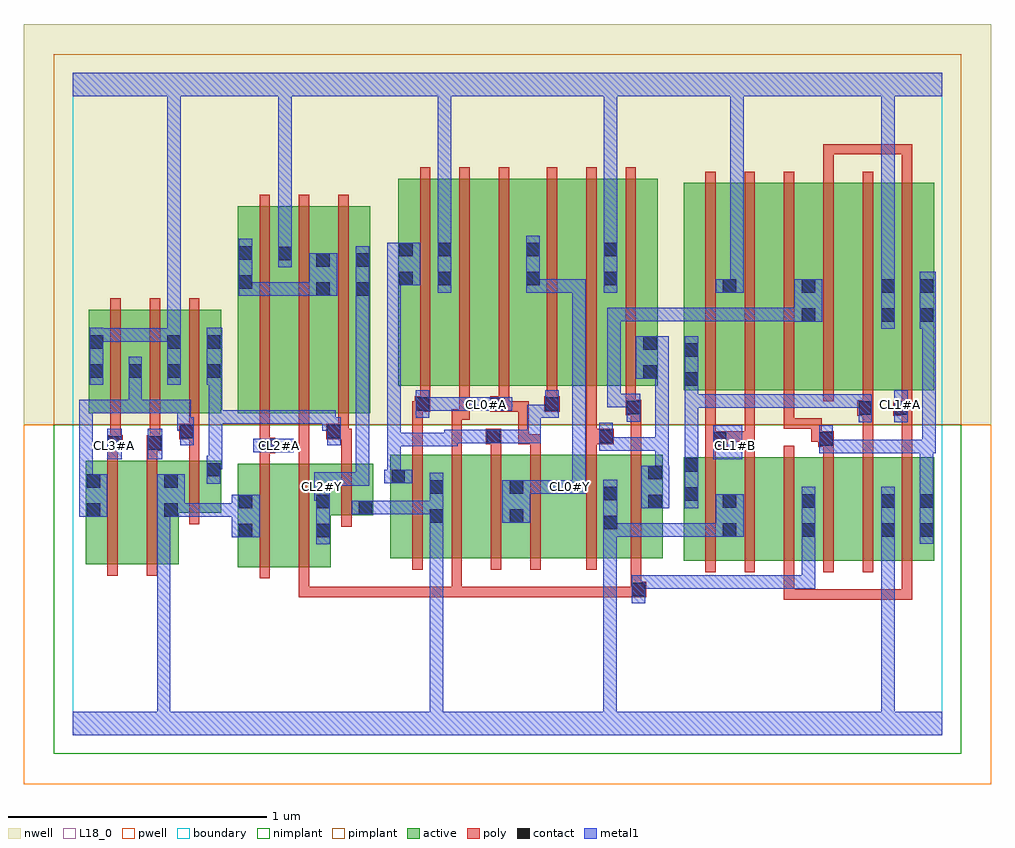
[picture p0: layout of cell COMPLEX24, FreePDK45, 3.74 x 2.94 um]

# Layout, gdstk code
import gdstk
lib = gdstk.Library(unit=1e-6, precision=1e-09)
def R(c, l, rs):  # rectangles x0, y0, x1, y1
    for r in rs: c.add(gdstk.rectangle(r[:2], r[2:], *l))
def A(c, l, x, y, w, h, nx, ny, dx, dy):  # array of equal rectangles
    R(c, l, [(x+i*dx, y+j*dy, x+i*dx+w, y+j*dy+h) for i in range(nx) for j in range(ny)])
active = (1, 0)
pwell = (2, 0)
nwell = (3, 0)
nimplant = (4, 0)
pimplant = (5, 0)
poly = (9, 0)
contact = (10, 0)
metal1 = (11, 0)
L18_0 = (18, 0)
boundary = (235, 0)

complex24 = lib.new_cell('COMPLEX24')
A(complex24, active, 0.062, 1.244, 0.06, 0.4, 3, 1, 0.15, 0)
R(complex24, active, [(0.638,0.65,0.818,1.05), (0.818,0.65,0.998,1.05), (0.938,0.65,0.998,1.05), (0.05,0.66,0.11,1.06), (0.05,0.66,0.23,1.06), (0.23,0.66,0.41,1.06), (2.36,0.674,2.42,1.074), (2.36,0.674,2.568,1.074), (2.508,0.674,2.692,1.074), (2.692,0.674,2.872,1.074), (2.812,0.674,2.996,1.074), (2.996,0.674,3.18,1.074), (3.12,0.674,3.18,1.074), (3.12,0.674,3.328,1.074), (3.268,0.674,3.328,1.074), (1.228,0.684,1.288,1.084), (1.228,0.684,1.436,1.084), (1.376,0.684,1.56,1.084), (1.56,0.684,1.744,1.084), (1.684,0.684,1.864,1.084), (1.684,0.684,1.744,0.99), (1.864,0.684,2.108,1.084), (2.048,0.684,2.28,1.084), (2.048,0.684,2.108,0.964), (2.22,0.684,2.28,1.084), (0.638,0.756,0.698,1.05), (1.376,0.756,1.436,0.99), (2.508,0.756,2.568,0.936), (2.812,0.756,2.872,0.936), (0.35,0.84,0.41,1.018), (0.938,0.85,1.162,1.05), (1.102,0.85,1.162,1.05), (0.35,0.86,0.574,1.06), (0.514,0.86,0.574,1.06), (0.062,1.244,0.272,1.644), (0.212,1.244,0.422,1.644), (0.362,1.244,0.574,1.644), (0.514,1.244,0.574,1.644), (0.638,1.244,0.698,2.044), (0.638,1.244,0.85,2.044), (0.79,1.244,0.998,2.044), (0.938,1.244,1.15,2.044), (1.09,1.244,1.15,2.044), (2.36,1.334,2.42,2.044), (2.36,1.334,2.568,2.134), (2.508,1.334,2.692,2.134), (2.692,1.334,2.872,2.134), (2.812,1.334,2.872,2.134), (2.812,1.334,2.996,2.134), (2.996,1.334,3.18,2.134), (3.12,1.334,3.328,2.134), (3.12,1.334,3.18,2.134), (3.268,1.334,3.328,2.044), (1.258,1.35,1.466,2.15), (1.258,1.35,1.318,2.15), (1.406,1.35,1.59,2.15), (1.59,1.35,1.808,2.15), (1.748,1.35,1.928,2.15), (1.928,1.35,2.108,2.15), (2.048,1.35,2.26,2.15), (2.2,1.35,2.26,2.044), (1.748,1.388,1.808,2.15), (0.938,1.458,0.998,2.044), (0.79,1.686,0.85,2.044), (1.406,1.686,1.466,2.15), (2.048,1.686,2.108,2.044), (2.508,1.686,2.568,2.044)])
R(complex24, pwell, [(-0.188,-0.188,3.548,1.2)])
R(complex24, nwell, [(-0.188,1.2,3.548,2.748)])
R(complex24, nimplant, [(-0.072,-0.072,3.432,1.2)])
R(complex24, pimplant, [(-0.072,1.2,3.432,2.632)])
A(complex24, poly, 0.874, 0.534, 0.146, 0.04, 3, 1, 0.106, 0)
A(complex24, poly, 2.444, 0.63, 0.04, 0.488, 6, 1, 0.152, 0)
A(complex24, poly, 1.312, 0.64, 0.04, 0.488, 4, 1, 0.152, 0)
A(complex24, poly, 0.146, 1.2, 0.04, 0.488, 3, 1, 0.152, 0)
A(complex24, poly, 0.722, 1.2, 0.04, 0.888, 3, 1, 0.152, 0)
A(complex24, poly, 2.444, 1.29, 0.04, 0.888, 6, 1, 0.152, 0)
A(complex24, poly, 1.342, 1.306, 0.04, 0.888, 3, 1, 0.152, 0)
A(complex24, poly, 1.832, 1.306, 0.04, 0.888, 3, 1, 0.152, 0)
R(complex24, poly, [(2.748,0.524,2.788,0.67), (2.748,0.524,2.788,0.564), (2.748,0.524,2.788,0.564), (2.748,0.524,2.788,0.564), (2.748,0.524,2.94,0.564), (2.9,0.524,2.94,0.564), (2.9,0.524,3.104,0.564), (3.064,0.524,3.104,0.564), (3.064,0.524,3.104,0.564), (3.064,0.524,3.104,0.564), (3.064,0.524,3.244,0.564), (3.204,0.524,3.244,0.67), (3.204,0.524,3.244,0.564), (3.204,0.524,3.244,0.564), (3.204,0.524,3.244,0.564), (0.874,0.534,0.914,0.574), (0.874,0.534,0.914,0.646), (0.98,0.534,1.02,0.574), (0.98,0.534,1.02,0.574), (0.98,0.534,1.02,0.574), (1.086,0.534,1.126,0.574), (1.086,0.534,1.126,0.574), (1.086,0.534,1.126,0.574), (1.192,0.534,1.232,0.574), (1.192,0.534,1.232,0.574), (1.192,0.534,1.232,0.574), (1.192,0.534,1.504,0.574), (1.464,0.534,1.504,0.68), (1.464,0.534,1.504,0.574), (1.464,0.534,1.61,0.574), (1.57,0.534,1.61,0.574), (1.57,0.534,1.61,0.574), (1.57,0.534,1.61,0.574), (1.57,0.534,1.812,0.574), (1.772,0.534,1.812,0.574), (1.772,0.534,1.812,0.574), (1.772,0.534,1.812,0.574), (1.772,0.534,1.918,0.574), (1.878,0.534,1.918,0.574), (1.878,0.534,1.918,0.574), (1.878,0.534,1.918,0.574), (1.878,0.534,2.196,0.574), (2.156,0.534,2.196,0.574), (2.156,0.534,2.196,0.574), (2.156,0.534,2.216,0.594), (2.156,0.554,2.196,0.68), (0.722,0.606,0.762,1.094), (0.874,0.606,0.914,1.094), (0.134,0.616,0.174,1.104), (0.286,0.616,0.326,1.104), (1.984,0.64,2.024,1.128), (2.156,0.64,2.196,1.128), (1.038,0.806,1.078,1.094), (0.45,0.816,0.49,1.104), (0.722,1.054,0.762,1.13), (0.874,1.054,0.914,1.13), (1.038,1.054,1.078,1.184), (0.134,1.064,0.174,1.14), (0.286,1.064,0.326,1.14), (0.45,1.064,0.49,1.184), (2.444,1.078,2.484,1.154), (2.596,1.078,2.636,1.174), (2.9,1.078,2.94,1.154), (3.052,1.078,3.092,1.274), (3.204,1.078,3.244,1.274), (1.312,1.088,1.352,1.29), (1.464,1.088,1.504,1.26), (1.616,1.088,1.656,1.164), (1.768,1.088,1.808,1.164), (1.984,1.088,2.024,1.164), (2.156,1.088,2.196,1.276), (0.722,1.09,0.782,1.15), (0.874,1.09,0.914,1.13), (0.874,1.09,0.914,1.13), (0.874,1.09,0.914,1.13), (0.874,1.09,0.914,1.24), (0.134,1.1,0.194,1.16), (0.286,1.1,0.346,1.16), (0.722,1.11,0.762,1.15), (0.722,1.11,0.762,1.15), (0.722,1.11,0.762,1.24), (2.444,1.114,2.53,1.174), (2.88,1.114,2.94,1.174), (0.146,1.12,0.186,1.16), (0.146,1.12,0.186,1.16), (0.146,1.12,0.186,1.24), (0.298,1.12,0.338,1.16), (0.298,1.12,0.338,1.16), (0.298,1.12,0.338,1.24), (1.596,1.124,1.656,1.184), (1.722,1.124,1.762,1.164), (1.722,1.124,1.808,1.164), (1.722,1.124,1.762,1.29), (1.768,1.124,1.808,1.164), (1.984,1.124,2.09,1.184), (2.444,1.134,2.484,1.174), (2.444,1.134,2.484,1.174), (2.444,1.134,2.484,1.174), (2.444,1.134,2.484,1.174), (2.444,1.134,2.484,1.33), (2.444,1.134,2.636,1.174), (2.596,1.134,2.636,1.174), (2.596,1.134,2.636,1.174), (2.596,1.134,2.636,1.174), (2.596,1.134,2.636,1.33), (2.854,1.134,2.894,1.174), (2.854,1.134,2.92,1.174), (2.854,1.134,2.894,1.224), (0.412,1.144,0.49,1.204), (0.45,1.144,0.49,1.184), (0.45,1.144,0.49,1.184), (0.98,1.144,1.066,1.204), (1.026,1.144,1.066,1.184), (1.026,1.144,1.078,1.184), (1.984,1.144,2.024,1.184), (1.984,1.144,2.024,1.184), (1.984,1.144,2.024,1.346), (0.45,1.164,0.49,1.24), (1.026,1.164,1.066,1.24), (2.748,1.184,2.788,1.33), (2.748,1.184,2.788,1.224), (2.748,1.184,2.894,1.224), (2.854,1.184,2.894,1.224), (1.464,1.22,1.506,1.26), (1.466,1.22,1.506,1.26), (1.466,1.22,1.534,1.26), (1.494,1.22,1.534,1.346), (3.032,1.234,3.092,1.294), (3.052,1.234,3.092,1.274), (3.052,1.234,3.092,1.274), (3.17,1.234,3.244,1.294), (3.204,1.234,3.244,1.274), (3.204,1.234,3.244,1.274), (2.136,1.236,2.196,1.296), (2.156,1.236,2.196,1.276), (2.156,1.236,2.196,1.276), (1.312,1.25,1.362,1.29), (1.322,1.25,1.362,1.29), (1.322,1.25,1.382,1.31), (1.614,1.25,1.686,1.31), (1.646,1.25,1.762,1.29), (1.722,1.25,1.762,1.29), (1.822,1.25,1.882,1.31), (3.052,1.254,3.092,1.33), (3.204,1.254,3.244,1.33), (2.136,1.256,2.176,1.346), (1.342,1.27,1.382,1.346), (1.646,1.27,1.686,1.346), (1.832,1.27,1.872,1.346), (2.9,2.138,2.94,2.284), (3.204,2.138,3.244,2.284), (2.9,2.244,2.94,2.284), (2.9,2.244,3.046,2.284), (3.006,2.244,3.046,2.284), (3.006,2.244,3.046,2.284), (3.006,2.244,3.046,2.284), (3.006,2.244,3.244,2.284), (3.204,2.244,3.244,2.284), (3.204,2.244,3.244,2.284), (3.204,2.244,3.244,2.284)])
A(complex24, contact, 0.066, 1.382, 0.052, 0.052, 3, 1, 0.15, 0)
R(complex24, contact, [(2.16,0.538,2.212,0.59), (0.642,0.766,0.694,0.818), (0.942,0.766,0.994,0.818), (2.512,0.768,2.564,0.82), (2.816,0.768,2.868,0.82), (3.124,0.768,3.176,0.82), (3.272,0.768,3.324,0.82), (2.052,0.796,2.104,0.848), (1.38,0.822,1.432,0.874), (1.688,0.822,1.74,0.874), (0.054,0.844,0.106,0.896), (0.354,0.844,0.406,0.896), (1.106,0.854,1.158,0.906), (0.642,0.878,0.694,0.93), (0.942,0.878,0.994,0.93), (2.224,0.878,2.276,0.93), (2.512,0.88,2.564,0.932), (2.816,0.88,2.868,0.932), (3.124,0.88,3.176,0.932), (3.272,0.88,3.324,0.932), (2.364,0.906,2.416,0.958), (2.052,0.908,2.104,0.96), (1.38,0.934,1.432,0.986), (1.688,0.934,1.74,0.986), (0.054,0.956,0.106,1.008), (0.354,0.956,0.406,1.008), (1.232,0.974,1.284,1.026), (2.224,0.99,2.276,1.042), (0.518,1,0.57,1.052), (2.364,1.018,2.416,1.07), (0.726,1.094,0.778,1.146), (0.138,1.104,0.19,1.156), (0.29,1.104,0.342,1.156), (2.474,1.118,2.526,1.17), (2.884,1.118,2.936,1.17), (1.6,1.128,1.652,1.18), (2.034,1.128,2.086,1.18), (0.416,1.148,0.468,1.2), (0.984,1.148,1.036,1.2), (3.036,1.238,3.088,1.29), (3.174,1.238,3.226,1.29), (2.14,1.24,2.192,1.292), (1.326,1.254,1.378,1.306), (1.618,1.254,1.67,1.306), (1.826,1.254,1.878,1.306), (2.364,1.35,2.416,1.402), (2.204,1.378,2.256,1.43), (0.518,1.382,0.57,1.434), (2.364,1.462,2.416,1.514), (2.204,1.49,2.256,1.542), (0.066,1.494,0.118,1.546), (0.366,1.494,0.418,1.546), (0.518,1.494,0.57,1.546), (2.816,1.598,2.868,1.65), (3.124,1.598,3.176,1.65), (3.272,1.598,3.324,1.65), (0.942,1.698,0.994,1.75), (1.094,1.698,1.146,1.75), (2.512,1.71,2.564,1.762), (2.816,1.71,2.868,1.762), (3.124,1.71,3.176,1.762), (3.272,1.71,3.324,1.762), (0.642,1.726,0.694,1.778), (1.262,1.738,1.314,1.79), (1.41,1.738,1.462,1.79), (1.752,1.738,1.804,1.79), (2.052,1.738,2.104,1.79), (0.942,1.81,0.994,1.862), (1.094,1.81,1.146,1.862), (0.794,1.836,0.846,1.888), (0.642,1.838,0.694,1.89), (1.262,1.85,1.314,1.902), (1.41,1.85,1.462,1.902), (1.752,1.85,1.804,1.902), (2.052,1.85,2.104,1.902)])
A(complex24, metal1, 2.364, 0.566, 0.052, 0.052, 3, 1, 0.11, 0)
A(complex24, metal1, 2.884, 1.09, 0.052, 0.052, 3, 1, 0.11, 0)
R(complex24, metal1, [(0,0,3.36,0.092), (0.326,0.04,0.378,0.092), (0.326,0.04,0.378,0.092), (0.326,0.04,0.378,0.092), (0.326,0.04,0.378,0.092), (0.326,0.04,0.378,0.092), (0.326,0.04,0.378,0.092), (0.326,0.04,0.378,0.092), (0.326,0.04,0.378,0.092), (0.326,0.04,0.378,0.092), (0.326,0.04,0.378,0.092), (0.326,0.04,0.378,0.896), (1.38,0.04,1.432,0.092), (1.38,0.04,1.432,0.092), (1.38,0.04,1.432,0.092), (1.38,0.04,1.432,0.092), (1.38,0.04,1.432,0.092), (1.38,0.04,1.432,0.092), (1.38,0.04,1.432,0.846), (2.05,0.04,2.102,0.092), (2.05,0.04,2.102,0.092), (2.05,0.04,2.102,0.092), (2.05,0.04,2.102,0.092), (2.05,0.04,2.102,0.092), (2.05,0.04,2.102,0.092), (2.05,0.04,2.102,0.092), (2.05,0.04,2.102,0.092), (2.05,0.04,2.102,0.092), (2.05,0.04,2.102,0.092), (2.05,0.04,2.102,0.82), (3.124,0.04,3.176,0.092), (3.124,0.04,3.176,0.092), (3.124,0.04,3.176,0.092), (3.124,0.04,3.176,0.092), (3.124,0.04,3.176,0.092), (3.124,0.04,3.176,0.092), (3.124,0.04,3.176,0.092), (3.124,0.04,3.176,0.092), (3.124,0.04,3.176,0.092), (3.124,0.04,3.176,0.092), (3.124,0.04,3.176,0.092), (3.124,0.04,3.176,0.092), (3.124,0.04,3.176,0.792), (2.16,0.51,2.212,0.618), (2.16,0.566,2.304,0.618), (2.252,0.566,2.304,0.618), (2.252,0.566,2.416,0.618), (2.364,0.566,2.416,0.618), (2.364,0.566,2.416,0.618), (2.364,0.566,2.526,0.618), (2.474,0.566,2.636,0.618), (2.584,0.566,2.636,0.618), (2.584,0.566,2.636,0.618), (2.584,0.566,2.826,0.618), (2.774,0.566,2.826,0.618), (2.774,0.566,2.868,0.618), (2.816,0.566,2.868,0.618), (2.816,0.566,2.868,0.792), (0.942,0.738,0.994,0.958), (2.816,0.74,2.868,0.96), (3.124,0.74,3.176,0.96), (3.272,0.74,3.324,0.96), (0.614,0.766,0.722,0.93), (2.05,0.768,2.102,0.82), (2.05,0.768,2.102,0.82), (2.05,0.768,2.104,0.988), (2.052,0.768,2.302,0.82), (2.25,0.768,2.302,0.82), (2.25,0.768,2.302,0.82), (2.25,0.768,2.302,0.82), (2.25,0.768,2.414,0.82), (2.362,0.768,2.414,0.82), (2.362,0.768,2.414,0.82), (2.362,0.768,2.414,0.82), (2.362,0.768,2.536,0.82), (2.484,0.768,2.592,0.932), (1.38,0.794,1.432,0.846), (1.38,0.794,1.432,0.846), (1.38,0.794,1.432,0.846), (1.38,0.794,1.432,0.846), (1.38,0.794,1.432,0.846), (1.38,0.794,1.432,0.846), (1.38,0.794,1.432,1.014), (1.66,0.822,1.768,0.986), (0.026,0.844,0.134,1.008), (0.326,0.844,0.378,0.896), (0.326,0.844,0.378,0.896), (0.326,0.844,0.434,1.008), (0.382,0.844,0.434,0.896), (0.382,0.844,0.434,0.896), (0.382,0.844,0.584,0.896), (0.532,0.844,0.584,0.896), (0.532,0.844,0.666,0.896), (1.078,0.854,1.186,0.906), (1.134,0.854,1.186,0.906), (1.134,0.854,1.186,0.906), (1.134,0.854,1.186,0.906), (1.134,0.854,1.186,0.906), (1.134,0.854,1.296,0.906), (1.244,0.854,1.296,0.906), (1.244,0.854,1.296,0.906), (1.244,0.854,1.296,0.906), (1.244,0.854,1.432,0.906), (2.196,0.878,2.304,1.042), (2.364,0.878,2.416,1.098), (0.934,0.906,0.994,1.016), (0.942,0.906,0.994,0.958), (3.272,0.908,3.324,1.142), (1.716,0.934,1.918,0.986), (1.866,0.934,1.918,0.986), (1.866,0.934,1.918,0.986), (1.866,0.934,1.918,0.986), (1.866,0.934,1.918,0.986), (1.866,0.934,1.982,0.986), (1.93,0.934,1.982,1.762), (0.026,0.956,0.078,1.296), (0.942,0.964,0.994,1.016), (0.942,0.964,0.994,1.016), (0.942,0.964,1.146,1.016), (1.094,0.964,1.146,1.016), (1.094,0.964,1.146,1.722), (0.518,0.972,0.57,1.08), (1.204,0.974,1.312,1.026), (1.216,0.974,1.268,1.168), (2.25,0.99,2.302,1.152), (0.518,1.028,0.57,1.08), (0.518,1.028,0.578,1.08), (0.526,1.028,0.578,1.256), (2.364,1.046,2.416,1.098), (2.364,1.046,2.416,1.098), (2.364,1.046,2.416,1.318), (0.134,1.066,0.19,1.184), (0.29,1.066,0.346,1.184), (2.474,1.066,2.586,1.198), (2.884,1.09,2.936,1.142), (2.884,1.09,3.046,1.142), (2.884,1.09,2.936,1.198), (2.994,1.09,3.156,1.142), (3.104,1.09,3.156,1.142), (3.104,1.09,3.156,1.142), (3.104,1.09,3.324,1.142), (3.272,1.09,3.334,1.142), (3.282,1.09,3.334,1.622), (0.698,1.094,0.854,1.146), (2.034,1.1,2.086,1.208), (2.034,1.1,2.092,1.152), (2.04,1.1,2.092,1.152), (2.04,1.1,2.302,1.152), (2.25,1.1,2.302,1.152), (2.25,1.1,2.302,1.152), (2.25,1.1,2.302,1.152), (2.25,1.1,2.302,1.152), (2.25,1.1,2.302,1.152), (2.25,1.1,2.302,1.43), (1.216,1.116,1.268,1.168), (1.216,1.116,1.268,1.168), (1.216,1.116,1.268,1.168), (1.216,1.116,1.354,1.168), (1.216,1.116,1.268,1.79), (1.302,1.116,1.354,1.168), (1.302,1.116,1.488,1.168), (1.436,1.116,1.488,1.168), (1.436,1.116,1.488,1.168), (1.436,1.116,1.488,1.18), (0.416,1.12,0.468,1.228), (0.984,1.12,1.036,1.228), (1.436,1.128,1.602,1.18), (1.55,1.128,1.602,1.18), (1.55,1.128,1.624,1.18), (1.572,1.128,1.68,1.18), (1.628,1.128,1.808,1.18), (1.756,1.128,1.808,1.18), (1.756,1.128,1.808,1.278), (0.404,1.176,0.468,1.228), (0.404,1.176,0.456,1.296), (0.964,1.176,1.036,1.228), (0.964,1.176,1.016,1.256), (0.526,1.204,0.578,1.256), (0.526,1.204,0.578,1.256), (0.526,1.204,0.578,1.256), (0.526,1.204,0.746,1.256), (0.526,1.204,0.578,1.406), (0.694,1.204,0.746,1.256), (0.694,1.204,0.856,1.256), (0.804,1.204,0.856,1.256), (0.804,1.204,0.856,1.256), (0.804,1.204,0.856,1.256), (0.804,1.204,1.016,1.256), (3.036,1.21,3.088,1.318), (3.174,1.21,3.226,1.334), (2.14,1.212,2.192,1.32), (1.326,1.226,1.378,1.334), (1.756,1.226,1.808,1.278), (1.756,1.226,1.878,1.278), (1.826,1.226,1.878,1.334), (0.026,1.244,0.078,1.296), (0.026,1.244,0.078,1.296), (0.026,1.244,0.078,1.296), (0.026,1.244,0.078,1.296), (0.026,1.244,0.078,1.296), (0.026,1.244,0.268,1.296), (0.216,1.244,0.268,1.296), (0.216,1.244,0.268,1.296), (0.216,1.244,0.268,1.296), (0.216,1.244,0.268,1.406), (0.216,1.244,0.456,1.296), (1.326,1.254,1.406,1.306), (1.354,1.254,1.406,1.306), (1.354,1.254,1.488,1.306), (1.436,1.254,1.488,1.306), (1.436,1.254,1.598,1.306), (1.546,1.254,1.598,1.306), (1.546,1.254,1.598,1.306), (1.546,1.254,1.698,1.306), (2.364,1.266,2.416,1.318), (2.364,1.266,2.416,1.318), (2.364,1.266,2.416,1.318), (2.364,1.266,2.526,1.318), (2.364,1.266,2.416,1.374), (2.474,1.266,2.526,1.318), (2.474,1.266,2.716,1.318), (2.664,1.266,2.716,1.318), (2.664,1.266,2.716,1.318), (2.664,1.266,2.716,1.318), (2.664,1.266,2.826,1.318), (2.774,1.266,2.826,1.318), (2.774,1.266,2.826,1.318), (2.774,1.266,2.826,1.318), (2.774,1.266,2.936,1.318), (2.884,1.266,2.936,1.318), (2.884,1.266,2.936,1.318), (2.884,1.266,2.936,1.318), (2.884,1.266,3.088,1.318), (2.066,1.268,2.118,1.32), (2.066,1.268,2.192,1.32), (2.066,1.268,2.118,1.652), (2.364,1.322,2.416,1.542), (0.066,1.354,0.118,1.574), (0.216,1.354,0.268,1.462), (0.366,1.354,0.418,1.574), (0.518,1.354,0.578,1.574), (2.176,1.378,2.302,1.542), (0.066,1.52,0.118,1.572), (0.066,1.52,0.118,1.572), (0.066,1.52,0.268,1.572), (0.216,1.52,0.268,1.572), (0.216,1.52,0.268,1.572), (0.216,1.52,0.268,1.572), (0.216,1.52,0.418,1.572), (0.366,1.522,0.418,1.574), (0.366,1.522,0.418,1.574), (0.366,1.522,0.418,1.574), (0.366,1.522,0.418,1.574), (0.366,1.522,0.418,1.574), (0.366,1.522,0.418,1.574), (0.366,1.522,0.418,1.574), (0.366,1.522,0.418,1.574), (0.366,1.522,0.418,1.574), (0.366,1.522,0.418,1.574), (0.366,1.522,0.418,1.574), (0.366,1.522,0.418,1.574), (0.366,1.522,0.418,2.52), (3.124,1.57,3.176,1.79), (3.272,1.57,3.334,1.79), (3.282,1.57,3.334,1.622), (3.282,1.57,3.334,1.622), (2.788,1.598,2.896,1.762), (2.066,1.6,2.118,1.652), (2.066,1.6,2.118,1.652), (2.066,1.6,2.118,1.652), (2.066,1.6,2.302,1.652), (2.25,1.6,2.302,1.652), (2.25,1.6,2.302,1.652), (2.25,1.6,2.302,1.652), (2.25,1.6,2.412,1.652), (2.36,1.6,2.412,1.652), (2.36,1.6,2.526,1.652), (2.474,1.6,2.526,1.652), (2.474,1.6,2.526,1.652), (2.474,1.6,2.526,1.652), (2.474,1.6,2.526,1.652), (2.474,1.6,2.526,1.652), (2.474,1.6,2.716,1.652), (2.664,1.6,2.716,1.652), (2.664,1.6,2.716,1.652), (2.664,1.6,2.716,1.652), (2.664,1.6,2.826,1.652), (2.774,1.6,2.826,1.652), (2.774,1.6,2.84,1.652), (1.094,1.67,1.146,1.722), (1.094,1.67,1.146,1.722), (1.094,1.67,1.146,1.89), (0.642,1.698,0.694,1.75), (0.642,1.698,0.694,1.75), (0.642,1.698,0.694,1.918), (0.642,1.698,0.856,1.75), (0.804,1.698,0.856,1.75), (0.804,1.698,0.856,1.75), (0.804,1.698,0.856,1.75), (0.804,1.698,0.966,1.75), (0.914,1.698,1.022,1.862), (1.41,1.71,1.462,1.93), (1.752,1.71,1.804,1.93), (1.752,1.71,1.808,1.762), (1.756,1.71,1.808,1.762), (1.756,1.71,1.982,1.762), (1.93,1.71,1.982,1.762), (1.93,1.71,1.982,1.762), (1.93,1.71,1.982,1.762), (2.052,1.71,2.104,1.93), (2.484,1.71,2.592,1.762), (2.54,1.71,2.592,1.762), (2.54,1.71,2.592,1.762), (2.54,1.71,2.592,2.52), (1.216,1.738,1.342,1.902), (3.124,1.738,3.176,1.79), (3.124,1.738,3.176,1.79), (3.124,1.738,3.176,2.52), (0.794,1.808,0.846,1.916), (0.794,1.864,0.846,1.916), (0.794,1.864,0.846,1.916), (0.794,1.864,0.846,1.916), (0.794,1.864,0.846,1.916), (0.794,1.864,0.846,2.52), (1.41,1.878,1.462,1.93), (1.41,1.878,1.462,1.93), (1.41,1.878,1.462,1.93), (1.41,1.878,1.462,1.93), (1.41,1.878,1.462,2.52), (2.052,1.878,2.104,1.93), (2.052,1.878,2.104,1.93), (2.052,1.878,2.104,1.93), (2.052,1.878,2.104,1.93), (2.052,1.878,2.104,1.93), (2.052,1.878,2.104,1.93), (2.052,1.878,2.104,1.93), (2.052,1.878,2.104,1.93), (2.052,1.878,2.104,2.52), (0,2.468,3.36,2.56), (0.366,2.468,0.418,2.52), (0.366,2.468,0.418,2.52), (0.366,2.468,0.418,2.52), (0.366,2.468,0.418,2.52), (0.794,2.468,0.846,2.52), (0.794,2.468,0.846,2.52), (0.794,2.468,0.846,2.52), (0.794,2.468,0.846,2.52), (1.41,2.468,1.462,2.52), (1.41,2.468,1.462,2.52), (1.41,2.468,1.462,2.52), (1.41,2.468,1.462,2.52), (2.54,2.468,2.592,2.52), (2.54,2.468,2.592,2.52), (2.54,2.468,2.592,2.52), (2.54,2.468,2.592,2.52), (2.54,2.468,2.592,2.52), (2.54,2.468,2.592,2.52), (3.124,2.468,3.176,2.52), (3.124,2.468,3.176,2.52), (3.124,2.468,3.176,2.52), (3.124,2.468,3.176,2.52), (3.124,2.468,3.176,2.52), (3.124,2.468,3.176,2.52)])
R(complex24, L18_0, [(0,0,3.36,0.092), (0.326,0.04,0.378,0.092), (0.326,0.04,0.378,0.092), (0.326,0.04,0.378,0.092), (0.326,0.04,0.378,0.092), (0.326,0.04,0.378,0.092), (0.326,0.04,0.378,0.092), (0.326,0.04,0.378,0.092), (0.326,0.04,0.378,0.092), (0.326,0.04,0.378,0.092), (0.326,0.04,0.378,0.092), (0.326,0.04,0.378,0.896), (1.38,0.04,1.432,0.092), (1.38,0.04,1.432,0.092), (1.38,0.04,1.432,0.092), (1.38,0.04,1.432,0.092), (1.38,0.04,1.432,0.092), (1.38,0.04,1.432,0.092), (1.38,0.04,1.432,0.846), (2.05,0.04,2.102,0.092), (2.05,0.04,2.102,0.092), (2.05,0.04,2.102,0.092), (2.05,0.04,2.102,0.092), (2.05,0.04,2.102,0.092), (2.05,0.04,2.102,0.092), (2.05,0.04,2.102,0.092), (2.05,0.04,2.102,0.092), (2.05,0.04,2.102,0.092), (2.05,0.04,2.102,0.092), (2.05,0.04,2.102,0.82), (3.124,0.04,3.176,0.092), (3.124,0.04,3.176,0.092), (3.124,0.04,3.176,0.092), (3.124,0.04,3.176,0.092), (3.124,0.04,3.176,0.092), (3.124,0.04,3.176,0.092), (3.124,0.04,3.176,0.092), (3.124,0.04,3.176,0.092), (3.124,0.04,3.176,0.092), (3.124,0.04,3.176,0.092), (3.124,0.04,3.176,0.092), (3.124,0.04,3.176,0.092), (3.124,0.04,3.176,0.792), (0.942,0.738,0.994,0.958), (3.124,0.74,3.176,0.96), (0.614,0.766,0.722,0.93), (2.05,0.768,2.102,0.82), (2.05,0.768,2.102,0.82), (2.05,0.768,2.104,0.988), (2.052,0.768,2.302,0.82), (2.25,0.768,2.302,0.82), (2.25,0.768,2.302,0.82), (2.25,0.768,2.302,0.82), (2.25,0.768,2.414,0.82), (2.362,0.768,2.414,0.82), (2.362,0.768,2.414,0.82), (2.362,0.768,2.414,0.82), (2.362,0.768,2.536,0.82), (2.484,0.768,2.592,0.932), (1.38,0.794,1.432,1.014), (1.38,0.794,1.432,0.846), (1.38,0.794,1.432,0.846), (1.38,0.794,1.432,0.846), (1.38,0.794,1.432,0.846), (1.38,0.794,1.432,0.846), (1.38,0.794,1.432,0.846), (1.66,0.822,1.768,0.986), (0.326,0.844,0.378,0.896), (0.326,0.844,0.378,0.896), (0.326,0.844,0.434,1.008), (0.382,0.844,0.434,0.896), (0.382,0.844,0.434,0.896), (0.382,0.844,0.584,0.896), (0.532,0.844,0.584,0.896), (0.532,0.844,0.666,0.896), (1.078,0.854,1.186,0.906), (1.134,0.854,1.186,0.906), (1.134,0.854,1.186,0.906), (1.134,0.854,1.186,0.906), (1.134,0.854,1.186,0.906), (1.134,0.854,1.296,0.906), (1.244,0.854,1.296,0.906), (1.244,0.854,1.296,0.906), (1.244,0.854,1.296,0.906), (1.244,0.854,1.432,0.906), (0.934,0.906,0.994,1.016), (0.942,0.906,0.994,0.958), (0.934,0.934,0.986,0.986), (1.716,0.934,1.918,0.986), (1.866,0.934,1.918,0.986), (1.866,0.934,1.918,0.986), (1.866,0.934,1.918,0.986), (1.866,0.934,1.918,0.986), (1.866,0.934,1.982,0.986), (1.894,0.934,1.946,0.986), (1.93,0.934,1.982,1.762), (0.942,0.964,0.994,1.016), (0.942,0.964,0.994,1.016), (0.942,0.964,1.146,1.016), (1.094,0.964,1.146,1.016), (1.094,0.964,1.146,1.722), (0.134,1.066,0.19,1.184), (0.29,1.066,0.346,1.184), (2.474,1.066,2.586,1.198), (0.134,1.094,0.186,1.146), (0.294,1.094,0.346,1.146), (0.698,1.094,0.854,1.146), (0.774,1.094,0.826,1.146), (2.534,1.094,2.586,1.146), (3.174,1.21,3.226,1.334), (1.326,1.226,1.378,1.334), (1.326,1.254,1.406,1.306), (1.354,1.254,1.406,1.306), (1.354,1.254,1.488,1.306), (1.436,1.254,1.488,1.306), (1.436,1.254,1.598,1.306), (1.546,1.254,1.598,1.306), (1.546,1.254,1.598,1.306), (1.546,1.254,1.698,1.306), (1.574,1.254,1.626,1.306), (3.174,1.254,3.226,1.306), (0.066,1.354,0.118,1.574), (0.366,1.354,0.418,1.574), (0.066,1.52,0.118,1.572), (0.066,1.52,0.118,1.572), (0.066,1.52,0.268,1.572), (0.216,1.52,0.268,1.572), (0.216,1.52,0.268,1.572), (0.216,1.52,0.268,1.572), (0.216,1.52,0.418,1.572), (0.366,1.522,0.418,1.574), (0.366,1.522,0.418,1.574), (0.366,1.522,0.418,1.574), (0.366,1.522,0.418,1.574), (0.366,1.522,0.418,1.574), (0.366,1.522,0.418,1.574), (0.366,1.522,0.418,1.574), (0.366,1.522,0.418,1.574), (0.366,1.522,0.418,1.574), (0.366,1.522,0.418,1.574), (0.366,1.522,0.418,1.574), (0.366,1.522,0.418,1.574), (0.366,1.522,0.418,2.52), (3.124,1.57,3.176,1.79), (1.094,1.67,1.146,1.89), (1.094,1.67,1.146,1.722), (1.094,1.67,1.146,1.722), (1.41,1.71,1.462,1.93), (1.752,1.71,1.804,1.93), (1.752,1.71,1.808,1.762), (1.756,1.71,1.808,1.762), (1.756,1.71,1.982,1.762), (1.93,1.71,1.982,1.762), (1.93,1.71,1.982,1.762), (1.93,1.71,1.982,1.762), (2.052,1.71,2.104,1.93), (2.484,1.71,2.592,1.762), (2.54,1.71,2.592,1.762), (2.54,1.71,2.592,1.762), (2.54,1.71,2.592,2.52), (3.124,1.738,3.176,1.79), (3.124,1.738,3.176,1.79), (3.124,1.738,3.176,2.52), (0.794,1.808,0.846,1.916), (0.794,1.864,0.846,1.916), (0.794,1.864,0.846,1.916), (0.794,1.864,0.846,1.916), (0.794,1.864,0.846,1.916), (0.794,1.864,0.846,2.52), (1.41,1.878,1.462,1.93), (1.41,1.878,1.462,1.93), (1.41,1.878,1.462,1.93), (1.41,1.878,1.462,1.93), (1.41,1.878,1.462,2.52), (2.052,1.878,2.104,1.93), (2.052,1.878,2.104,1.93), (2.052,1.878,2.104,1.93), (2.052,1.878,2.104,1.93), (2.052,1.878,2.104,1.93), (2.052,1.878,2.104,1.93), (2.052,1.878,2.104,1.93), (2.052,1.878,2.104,1.93), (2.052,1.878,2.104,2.52), (0,2.468,3.36,2.56), (0.366,2.468,0.418,2.52), (0.366,2.468,0.418,2.52), (0.366,2.468,0.418,2.52), (0.366,2.468,0.418,2.52), (0.794,2.468,0.846,2.52), (0.794,2.468,0.846,2.52), (0.794,2.468,0.846,2.52), (0.794,2.468,0.846,2.52), (1.41,2.468,1.462,2.52), (1.41,2.468,1.462,2.52), (1.41,2.468,1.462,2.52), (1.41,2.468,1.462,2.52), (2.54,2.468,2.592,2.52), (2.54,2.468,2.592,2.52), (2.54,2.468,2.592,2.52), (2.54,2.468,2.592,2.52), (2.54,2.468,2.592,2.52), (2.54,2.468,2.592,2.52), (3.124,2.468,3.176,2.52), (3.124,2.468,3.176,2.52), (3.124,2.468,3.176,2.52), (3.124,2.468,3.176,2.52), (3.124,2.468,3.176,2.52), (3.124,2.468,3.176,2.52)])
R(complex24, boundary, [(0,0,3.36,2.56)])
complex24.add(gdstk.Label('CL0#A', (1.6,1.28), layer=11, texttype=0))
complex24.add(gdstk.Label('CL0#Y', (1.92,0.96), layer=11, texttype=0))
complex24.add(gdstk.Label('CL1#A', (3.2,1.28), layer=11, texttype=0))
complex24.add(gdstk.Label('CL1#B', (2.56,1.12), layer=11, texttype=0))
complex24.add(gdstk.Label('CL2#A', (0.8,1.12), layer=11, texttype=0))
complex24.add(gdstk.Label('CL2#Y', (0.96,0.96), layer=11, texttype=0))
complex24.add(gdstk.Label('CL3#A', (0.16,1.12), layer=11, texttype=0))
complex24.add(gdstk.Label('CL3#B', (0.32,1.12), layer=11, texttype=0))

lib.write_gds('COMPLEX24.gds')
